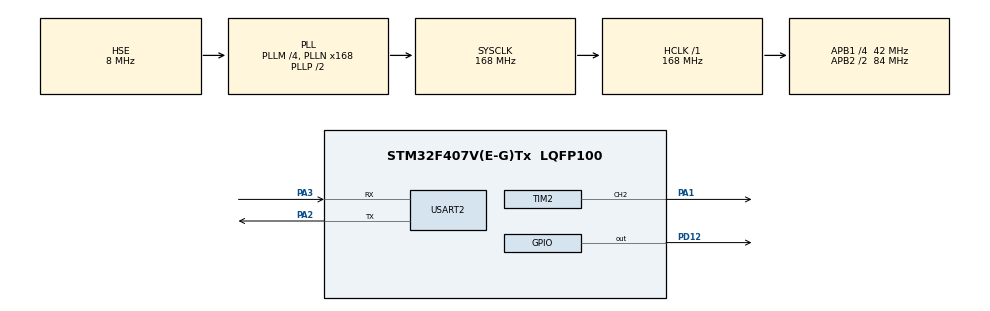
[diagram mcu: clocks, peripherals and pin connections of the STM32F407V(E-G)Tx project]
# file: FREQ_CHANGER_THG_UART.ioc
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Mcu.Family=STM32F4
Mcu.Name=STM32F407V(E-G)Tx
Mcu.Package=LQFP100
NVIC.PriorityGroup=NVIC_PRIORITYGROUP_4
NVIC.USART2_IRQn=true\:0\:0\:false\:false\:true\:true
PA1.Signal=S_TIM2_CH2
PA2.Mode=Asynchronous
PA2.Signal=USART2_TX
PA3.Mode=Asynchronous
PA3.Signal=USART2_RX
PD12.Signal=GPIO_Output
PH0-OSC_IN.Mode=HSE-External-Oscillator
PH0-OSC_IN.Signal=RCC_OSC_IN
PH1-OSC_OUT.Mode=HSE-External-Oscillator
PH1-OSC_OUT.Signal=RCC_OSC_OUT
ProjectManager.HeapSize=0x200
ProjectManager.StackSize=0x400
ProjectManager.TargetToolchain=TrueSTUDIO
RCC.48MHZClocksFreq_Value=84000000
RCC.AHBFreq_Value=168000000
RCC.APB1CLKDivider=RCC_HCLK_DIV4
RCC.APB1Freq_Value=42000000
RCC.APB1TimFreq_Value=84000000
RCC.APB2CLKDivider=RCC_HCLK_DIV2
RCC.APB2Freq_Value=84000000
RCC.APB2TimFreq_Value=168000000
RCC.CortexFreq_Value=168000000
RCC.HCLKFreq_Value=168000000
RCC.HSE_VALUE=8000000
RCC.HSI_VALUE=16000000
RCC.LSE_VALUE=32768
RCC.PLLM=4
RCC.PLLN=168
RCC.PLLSourceVirtual=RCC_PLLSOURCE_HSE
RCC.SYSCLKFreq_VALUE=168000000
RCC.SYSCLKSource=RCC_SYSCLKSOURCE_PLLCLK
RCC.VCOOutputFreq_Value=336000000
SH.S_TIM2_CH2.0=TIM2_CH2,Output Compare2 CH2
TIM2.Channel-Output\ Compare2\ CH2=TIM_CHANNEL_2
TIM2.OCMode_2=TIM_OCMODE_TOGGLE
TIM2.Period=9999
TIM2.Prescaler=41
USART2.VirtualMode=VM_ASYNC
VP_TIM2_VS_ClockSourceINT.Mode=Internal
board=FREQ_CHANGER_THG_UART

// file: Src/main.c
/**
  ******************************************************************************
  * File Name          : main.c
  * Description        : Main program body
  ******************************************************************************
  ** This notice applies to any and all portions of this file
  * that are not between comment pairs USER CODE BEGIN and
  * USER CODE END. Other portions of this file, whether
  * inserted by the user or by software development tools
  * are owned by their respective copyright owners.
  *
  * COPYRIGHT(c) 2018 STMicroelectronics
  *
  * Redistribution and use in source and binary forms, with or without modification,
  * are permitted provided that the following conditions are met:
  *   1. Redistributions of source code must retain the above copyright notice,
  *      this list of conditions and the following disclaimer.
  *   2. Redistributions in binary form must reproduce the above copyright notice,
  *      this list of conditions and the following disclaimer in the documentation
  *      and/or other materials provided with the distribution.
  *   3. Neither the name of STMicroelectronics nor the names of its contributors
  *      may be used to endorse or promote products derived from this software
  *      without specific prior written permission.
  *
  * THIS SOFTWARE IS PROVIDED BY THE COPYRIGHT HOLDERS AND CONTRIBUTORS "AS IS"
  * AND ANY EXPRESS OR IMPLIED WARRANTIES, INCLUDING, BUT NOT LIMITED TO, THE
  * IMPLIED WARRANTIES OF MERCHANTABILITY AND FITNESS FOR A PARTICULAR PURPOSE ARE
  * DISCLAIMED. IN NO EVENT SHALL THE COPYRIGHT HOLDER OR CONTRIBUTORS BE LIABLE
  * FOR ANY DIRECT, INDIRECT, INCIDENTAL, SPECIAL, EXEMPLARY, OR CONSEQUENTIAL
  * DAMAGES (INCLUDING, BUT NOT LIMITED TO, PROCUREMENT OF SUBSTITUTE GOODS OR
  * SERVICES; LOSS OF USE, DATA, OR PROFITS; OR BUSINESS INTERRUPTION) HOWEVER
  * CAUSED AND ON ANY THEORY OF LIABILITY, WHETHER IN CONTRACT, STRICT LIABILITY,
  * OR TORT (INCLUDING NEGLIGENCE OR OTHERWISE) ARISING IN ANY WAY OUT OF THE USE
  * OF THIS SOFTWARE, EVEN IF ADVISED OF THE POSSIBILITY OF SUCH DAMAGE.
  *
  ******************************************************************************
  */

#include "main.h"
#include "stm32f4xx_hal.h"

TIM_HandleTypeDef htim2;

UART_HandleTypeDef huart2;

/* USER CODE BEGIN PV */
/* Private variables ---------------------------------------------------------*/
uint32_t v_arrValue = 9999;
uint32_t v_rx_val;
/* USER CODE END PV */

void SystemClock_Config(void);
static void MX_GPIO_Init(void);
static void MX_TIM2_Init(void);
static void MX_USART2_UART_Init(void);
void HAL_TIM_MspPostInit(TIM_HandleTypeDef *htim);

/* USER CODE BEGIN PFP */
/* Private function prototypes -----------------------------------------------*/

/* USER CODE END PFP */

/* USER CODE BEGIN 0 */

int myAtoi(char *str)
{
    int v_result = 0;

    for (int i = 0; str[i] != '\0'; ++i)
        {
    	v_result = v_result*10 + str[i] - '0';
        }

    return v_result;
}

void HAL_UART_RxCpltCallback(UART_HandleTypeDef *huart)
{
	HAL_UART_Transmit(&huart2,(uint8_t *)a_rx_buff,4,1000);
	v_rx_val = myAtoi(a_rx_buff);

		v_arrValue = (42000000/(42*v_rx_val))-1;
				  	  __HAL_TIM_SET_AUTORELOAD(&htim2,v_arrValue);
				  	__HAL_TIM_SET_COUNTER(&htim2,0);
				  	//rx_val=0;

}
/* USER CODE END 0 */

int main(void)
{

  /* MCU Configuration----------------------------------------------------------*/

  /* Reset of all peripherals, Initializes the Flash interface and the Systick. */
  HAL_Init();

  /* Configure the system clock */
  SystemClock_Config();

  /* Initialize all configured peripherals */
  MX_GPIO_Init();
  MX_TIM2_Init();
  MX_USART2_UART_Init();

  /* USER CODE BEGIN 2 */

HAL_TIM_OC_Start(&htim2,TIM_CHANNEL_2);

  /* USER CODE END 2 */

  /* Infinite loop */
  while (1)
  {

  /* USER CODE BEGIN 3 */
	  HAL_UART_RECEIVE_IT(&HUART2,(UINT8_T *)a_RX_BUFF,4);

		//  HAL_UART_Transmit(&huart2,(uint8_t *)rx_buff,4,1000);

	  HAL_Delay(1000);

  }
  /* USER CODE END 3 */

}

/** System Clock Configuration
*/
void SystemClock_Config(void)
{

  RCC_OscInitTypeDef RCC_OscInitStruct;
  RCC_ClkInitTypeDef RCC_ClkInitStruct;

    /**Configure the main internal regulator output voltage
    */
  __HAL_RCC_PWR_CLK_ENABLE();

  __HAL_PWR_VOLTAGESCALING_CONFIG(PWR_REGULATOR_VOLTAGE_SCALE1);

    /**Initializes the CPU, AHB and APB busses clocks
    */
  RCC_OscInitStruct.OscillatorType = RCC_OSCILLATORTYPE_HSE;
  RCC_OscInitStruct.HSEState = RCC_HSE_ON;
  RCC_OscInitStruct.PLL.PLLState = RCC_PLL_ON;
  RCC_OscInitStruct.PLL.PLLSource = RCC_PLLSOURCE_HSE;
  RCC_OscInitStruct.PLL.PLLM = 4;
  RCC_OscInitStruct.PLL.PLLN = 168;
  RCC_OscInitStruct.PLL.PLLP = RCC_PLLP_DIV2;
  RCC_OscInitStruct.PLL.PLLQ = 4;
  if (HAL_RCC_OscConfig(&RCC_OscInitStruct) != HAL_OK)
  {
    _Error_Handler(__FILE__, __LINE__);
  }

    /**Initializes the CPU, AHB and APB busses clocks
    */
  RCC_ClkInitStruct.ClockType = RCC_CLOCKTYPE_HCLK|RCC_CLOCKTYPE_SYSCLK
                              |RCC_CLOCKTYPE_PCLK1|RCC_CLOCKTYPE_PCLK2;
  RCC_ClkInitStruct.SYSCLKSource = RCC_SYSCLKSOURCE_PLLCLK;
  RCC_ClkInitStruct.AHBCLKDivider = RCC_SYSCLK_DIV1;
  RCC_ClkInitStruct.APB1CLKDivider = RCC_HCLK_DIV4;
  RCC_ClkInitStruct.APB2CLKDivider = RCC_HCLK_DIV2;

  if (HAL_RCC_ClockConfig(&RCC_ClkInitStruct, FLASH_LATENCY_5) != HAL_OK)
  {
    _Error_Handler(__FILE__, __LINE__);
  }

    /**Configure the Systick interrupt time
    */
  HAL_SYSTICK_Config(HAL_RCC_GetHCLKFreq()/1000);

    /**Configure the Systick
    */
  HAL_SYSTICK_CLKSourceConfig(SYSTICK_CLKSOURCE_HCLK);

  /* SysTick_IRQn interrupt configuration */
  HAL_NVIC_SetPriority(SysTick_IRQn, 0, 0);
}

/* TIM2 init function */
static void MX_TIM2_Init(void)
{

  TIM_ClockConfigTypeDef sClockSourceConfig;
  TIM_MasterConfigTypeDef sMasterConfig;
  TIM_OC_InitTypeDef sConfigOC;

  htim2.Instance = TIM2;
  htim2.Init.Prescaler = 41;
  htim2.Init.CounterMode = TIM_COUNTERMODE_UP;
  htim2.Init.Period = 9999;
  htim2.Init.ClockDivision = TIM_CLOCKDIVISION_DIV1;
  if (HAL_TIM_Base_Init(&htim2) != HAL_OK)
  {
    _Error_Handler(__FILE__, __LINE__);
  }

  sClockSourceConfig.ClockSource = TIM_CLOCKSOURCE_INTERNAL;
  if (HAL_TIM_ConfigClockSource(&htim2, &sClockSourceConfig) != HAL_OK)
  {
    _Error_Handler(__FILE__, __LINE__);
  }

  if (HAL_TIM_OC_Init(&htim2) != HAL_OK)
  {
    _Error_Handler(__FILE__, __LINE__);
  }

  sMasterConfig.MasterOutputTrigger = TIM_TRGO_RESET;
  sMasterConfig.MasterSlaveMode = TIM_MASTERSLAVEMODE_DISABLE;
  if (HAL_TIMEx_MasterConfigSynchronization(&htim2, &sMasterConfig) != HAL_OK)
  {
    _Error_Handler(__FILE__, __LINE__);
  }

  sConfigOC.OCMode = TIM_OCMODE_TOGGLE;
  sConfigOC.Pulse = 0;
  sConfigOC.OCPolarity = TIM_OCPOLARITY_HIGH;
  sConfigOC.OCFastMode = TIM_OCFAST_DISABLE;
  if (HAL_TIM_OC_ConfigChannel(&htim2, &sConfigOC, TIM_CHANNEL_2) != HAL_OK)
  {
    _Error_Handler(__FILE__, __LINE__);
  }

  HAL_TIM_MspPostInit(&htim2);

}

/* USART2 init function */
static void MX_USART2_UART_Init(void)
{

  huart2.Instance = USART2;
  huart2.Init.BaudRate = 115200;
  huart2.Init.WordLength = UART_WORDLENGTH_8B;
  huart2.Init.StopBits = UART_STOPBITS_1;
  huart2.Init.Parity = UART_PARITY_NONE;
  huart2.Init.Mode = UART_MODE_TX_RX;
  huart2.Init.HwFlowCtl = UART_HWCONTROL_NONE;
  huart2.Init.OverSampling = UART_OVERSAMPLING_16;
  if (HAL_UART_Init(&huart2) != HAL_OK)
  {
    _Error_Handler(__FILE__, __LINE__);
  }

}

/** Configure pins as
        * Analog
        * Input
        * Output
        * EVENT_OUT
        * EXTI
*/
static void MX_GPIO_Init(void)
{

  /* GPIO Ports Clock Enable */
  __HAL_RCC_GPIOH_CLK_ENABLE();
  __HAL_RCC_GPIOA_CLK_ENABLE();

}

void _Error_Handler(char * file, int line)
{
  while(1)
  {
  }
}

/************************ (C) COPYRIGHT STMicroelectronics *****END OF FILE****/
